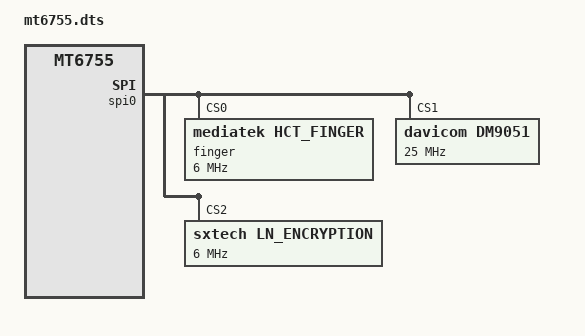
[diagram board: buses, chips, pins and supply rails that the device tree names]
&spi0 {
    pinctrl-names = "default",
                    "spi0_miso",
                    "spi0_mosi",
                    "spi0_clk",
                    "spi0_finger_cs",
                    "spi0_finger_cs_off",
                    "spi0_dm9051_cs",
                    "spi0_dm9051_cs_off",
                    "spi0_secret_cs",
                    "spi0_secret_cs_off";
    pinctrl-0 = <&spi0_default>;
    pinctrl-1 = <&spi0_miso>;
    pinctrl-2 = <&spi0_mosi>;
    pinctrl-3 = <&spi0_clk>;
    pinctrl-4 = <&spi0_finger_cs>;
    pinctrl-5 = <&spi0_finger_cs_off>;
    pinctrl-6 = <&spi0_dm9051_cs>;
    pinctrl-7 = <&spi0_dm9051_cs_off>;
    pinctrl-8 = <&spi0_secret_cs>;
    pinctrl-9 = <&spi0_secret_cs_off>;

    /*
	xr20m1172@0 {
		compatible = "exar,xrm117x";
		reg = <0>;
		spi-max-frequency = <35000000>;
		xr20m1172,eint = <4>;
		pinctrl-names = "1172_rst0","1172_rst1","1172_en0","1172_en1";
		pinctrl-0 = <&xr20m1172_gpio0>;
		pinctrl-1 = <&xr20m1172_gpio1>;
		pinctrl-2 = <&xr20m1172_gpio2>;
		pinctrl-3 = <&xr20m1172_gpio3>;
	};
	*/

    finger@0{
        compatible = "mediatek,hct_finger";
        reg = <0>;
        spi-max-frequency = <6000000>;

        pinctrl-names = "default",
                        "finger_int_as_int",
                        "finger_rst_clr",
                        "finger_rst_set";
        pinctrl-0 = <&finger_pins_default>;
        pinctrl-1 = <&finger_int_as_int>;
        pinctrl-2 = <&finger_rst_clr>;
        pinctrl-3 = <&finger_rst_set>;
    };

    dm9051@1 {
        compatible = "davicom,dm9051";
        reg = <1>;
        spi-max-frequency = <25000000>;/*<109000000>;*/

        pinctrl-names = "default", "dm9051_rst0","dm9051_rst1","spi_switch_en0","spi_switch_en1";
        pinctrl-0 = <&dm9051_default>;
        pinctrl-1 = <&dm9051_rst0>;
        pinctrl-2 = <&dm9051_rst1>;
        pinctrl-3 = <&spi_switch_en0>;
        pinctrl-4 = <&spi_switch_en1>;
    };
    
    ln_encryption@2 {
    	compatible = "sxtech,ln_encryption";
        reg = <2>;
        spi-max-frequency = <6000000>;/*<109000000>;*/

        pinctrl-names = "default", "encryption_rst0","encryption_rst1","spi_switch_en0","spi_switch_en1";
        pinctrl-0 = <&encryption_default>;
        pinctrl-1 = <&encryption_rst0>;
        pinctrl-2 = <&encryption_rst1>;
        pinctrl-3 = <&spi_switch_en0>;
        pinctrl-4 = <&spi_switch_en1>;       	
    };
    
};

&pio {
    dm9051_default:dm9051_default{
	};

    dm9051_rst0: dm9051_rst0{
	    pins_cmd_dat {
			pins = <PINMUX_GPIO83__FUNC_GPIO83>;
			slew-rate = <1>;
			output-low;
			input-schmitt-enable = <0>;
		};

	};

    dm9051_rst1: dm9051_rst1{
		pins_cmd_dat {
			pins = <PINMUX_GPIO83__FUNC_GPIO83>;
			slew-rate = <1>;
			output-high;
			input-schmitt-enable = <0>;
        };

    };
    spi_switch_en0: spi_switch_en0{
	    pins_cmd_dat {
			pins = <PINMUX_GPIO21__FUNC_GPIO21>;
			slew-rate = <1>;
			output-low;
			input-schmitt-enable = <0>;
		};

	};

    spi_switch_en1: spi_switch_en1{
        pins_cmd_dat {
			pins = <PINMUX_GPIO21__FUNC_GPIO21>;
			slew-rate = <1>;
			output-high;
			input-schmitt-enable = <0>;
        };
    };

};
